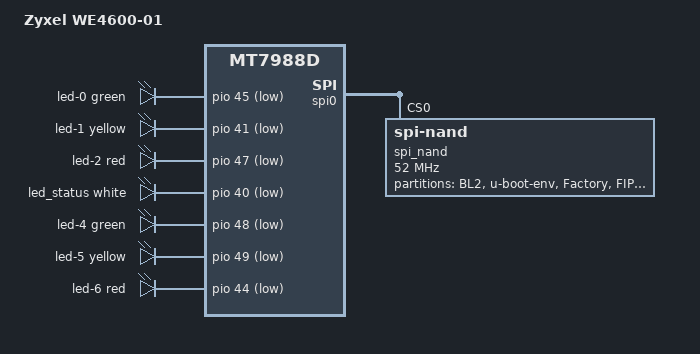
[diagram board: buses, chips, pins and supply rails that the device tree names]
// SPDX-License-Identifier: (GPL-2.0 OR MIT)

#include "mt7988d-zyxel-ee4600.dtsi"

/ {
	model = "Zyxel WE4600-01";
	compatible = "zyxel,we4600-01", "mediatek,mt7988d";

	chosen {
		stdout-path = "serial0:115200n8";

		/*
		 * The bootloader expects a verity volume, replacing the
		 * device numbers with the current dual boot root device.
		 * This fails horribly if "verity" is removed or changed.
		 */
		bootargs = "dm-mod.create=\"dummy,,,ro,0 0 verity 1 0 0 0\"";
	};

	gpio-leds {
		compatible = "gpio-leds";

		led-0 {
			gpios = <&pio 45 GPIO_ACTIVE_LOW>;
			color = <LED_COLOR_ID_GREEN>;
			function = LED_FUNCTION_POWER;
		};

		led-1 {
			gpios = <&pio 41 GPIO_ACTIVE_LOW>;
			color = <LED_COLOR_ID_YELLOW>;
			function = LED_FUNCTION_POWER;
		};

		led-2 {
			gpios = <&pio 47 GPIO_ACTIVE_LOW>;
			color = <LED_COLOR_ID_RED>;
			function = LED_FUNCTION_POWER;
		};

		led_status: led-3 {
			gpios = <&pio 40 GPIO_ACTIVE_LOW>;
			color = <LED_COLOR_ID_WHITE>;
			function = LED_FUNCTION_STATUS;
			panic-indicator;
		};

		led-4 {
			gpios = <&pio 48 GPIO_ACTIVE_LOW>;
			color = <LED_COLOR_ID_GREEN>;
			function = LED_FUNCTION_WLAN;
		};

		led-5 {
			gpios = <&pio 49 GPIO_ACTIVE_LOW>;
			color = <LED_COLOR_ID_YELLOW>;
			function = LED_FUNCTION_WLAN;
		};

		led-6 {
			gpios = <&pio 44 GPIO_ACTIVE_LOW>;
			color = <LED_COLOR_ID_RED>;
			function = LED_FUNCTION_WLAN;
		};

	};
};

&spi0 {
	pinctrl-names = "default";
	pinctrl-0 = <&spi0_flash_pins>;
	status = "okay";

	spi_nand: spi_nand@0 {
		#address-cells = <1>;
		#size-cells = <1>;
		compatible = "spi-nand";
		
		reg = <0>;

		spi-cal-addr = /bits/ 32 <0x0 0x0 0x0 0x0 0x0>;
		spi-cal-addrlen = <5>;
		spi-cal-data = /bits/ 8 <0x53 0x50 0x49 0x4E 0x41 0x4E 0x44>;
		spi-cal-datalen = <7>;
		spi-cal-enable;
		spi-cal-mode = "read-data";		

		spi-max-frequency = <52000000>;
		spi-rx-bus-width = <4>;
		spi-tx-bus-width = <4>;

		partitions: partitions {
			compatible = "fixed-partitions";
			#address-cells = <1>;
			#size-cells = <1>;

			partition@0 {
				label = "BL2";
				reg = <0x0 0x100000>;
				read-only;
			};
			partition@100000 {
				label = "u-boot-env";
				reg = <0x100000 0x80000>;
			};
			partition@180000 {
				label = "Factory";
				reg = <0x180000 0x400000>;
				read-only;

				nvmem-layout {
					compatible = "fixed-layout";
					#address-cells = <1>;
					#size-cells = <1>;

					eeprom_factory_0: eeprom@0 {
						reg = <0x0 0x1e00>;
					};
				};
			};
			partition@580000 {
				label = "FIP";
				reg = <0x580000 0x1c0000>;
				read-only;
			};
			partition@740000 {
				label = "zloader";
				reg = <0x740000 0x40000>;
				read-only;
			};
			partition@780000 {
				label = "ubi";
				reg = <0x780000 0xac80000>;
				compatible = "linux,ubi";

				volumes {
					ubi-volume-u-boot-env {
						volname = "u-boot-env";
						
						nvmem-layout {
							compatible = "u-boot,env";
							env-size = <0x80000>;

							mac: ethaddr {
								#nvmem-cell-cells = <1>;
							};
						};
					};
				};
			};
			partition@B400000 {
				label = "zyubi";
				reg = <0xb400000 0x12c00000>;
				compatible = "linux,ubi";

				volumes {
					zyubi-volume-zymfg {
						volname = "zyMFG";
					};
				};
			};
		};
	};
};

&gmac0 {
	status = "disabled";
};

&gmac1 {
	openwrt,netdev-name = "lan1";
};

&gmac2 {
	openwrt,netdev-name = "lan2";
};

&switch {
	status = "disabled";
};
